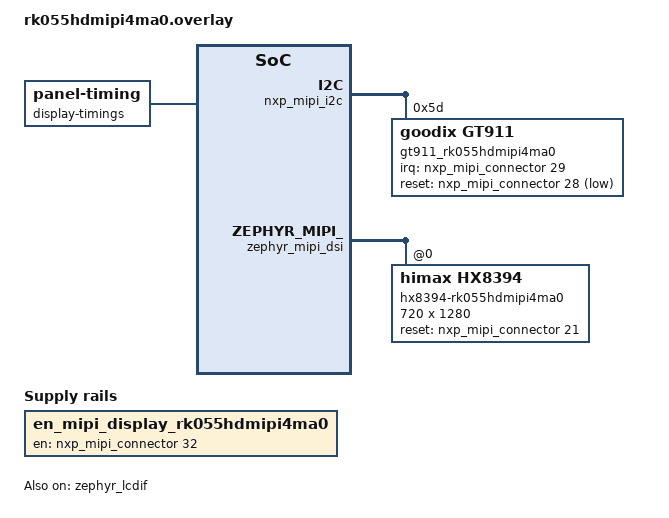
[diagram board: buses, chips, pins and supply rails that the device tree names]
/*
 * Copyright 2023, NXP
 *
 * SPDX-License-Identifier: Apache-2.0
 */

#include <zephyr/dt-bindings/display/panel.h>

/{
	chosen {
		zephyr,display = &lcdif;
	};

	en_mipi_display_rk055hdmipi4ma0: enable-mipi-display-rk055hdmipi4ma0 {
		compatible = "regulator-fixed";
		regulator-name = "en_mipi_display";
		enable-gpios = <&nxp_mipi_connector 32 GPIO_ACTIVE_HIGH>;
		regulator-boot-on;
	};

	lvgl_pointer {
		compatible = "zephyr,lvgl-pointer-input";
		input = <&gt911_rk055hdmipi4ma0>;
	};
};

&nxp_mipi_i2c {
	status = "okay";
	gt911_rk055hdmipi4ma0: gt911-rk055hdmipi4ma0@5d {
		compatible = "goodix,gt911";
		reg = <0x5d>;
		irq-gpios = <&nxp_mipi_connector 29 GPIO_ACTIVE_HIGH>;
		reset-gpios = <&nxp_mipi_connector 28 GPIO_ACTIVE_LOW>;
	};
};

&zephyr_lcdif {
	status = "okay";
	width = <720>;
	height = <1280>;
	display-timings {
		compatible = "zephyr,panel-timing";
		hsync-len = <6>;
		hfront-porch = <12>;
		hback-porch = <24>;
		vsync-len = <2>;
		vfront-porch = <16>;
		vback-porch = <14>;
		hsync-active = <0>;
		vsync-active = <0>;
		de-active = <1>;
		pixelclk-active = <1>;
		/*
		 * Pixel clock is given by the following formula:
		 * (height + vsync-len + vfront-porch + vback-porch) *
		 * (width + hsync-len + hfront-porch + hback-porch) * frame rate
		 */
		clock-frequency = <62346240>;
	};
	pixel-format = <PANEL_PIXEL_FORMAT_BGR_565>;
	data-bus-width = "24-bit";
	backlight-gpios = <&nxp_mipi_connector 0 GPIO_ACTIVE_HIGH>;
};

&zephyr_mipi_dsi {
	status = "okay";
	nxp,lcdif = <&lcdif>;
	dpi-color-coding = "24-bit";
	dpi-pixel-packet = "24-bit";
	dpi-video-mode = "burst";
	dpi-bllp-mode = "low-power";
	autoinsert-eotp;
	/*
	 * PHY clock is given by the following formula:
	 * (pixel clock * bits per pixel) / MIPI data lanes
	 */
	phy-clock = <748154880>;
	hx8394-rk055hdmipi4ma0@0 {
		status = "okay";
		compatible = "himax,hx8394";
		reg = <0x0>;
		reset-gpios = <&nxp_mipi_connector 21 GPIO_ACTIVE_HIGH>;
		data-lanes = <2>;
		width = <720>;
		height = <1280>;
		pixel-format = <MIPI_DSI_PIXFMT_RGB565>;
	};
};
